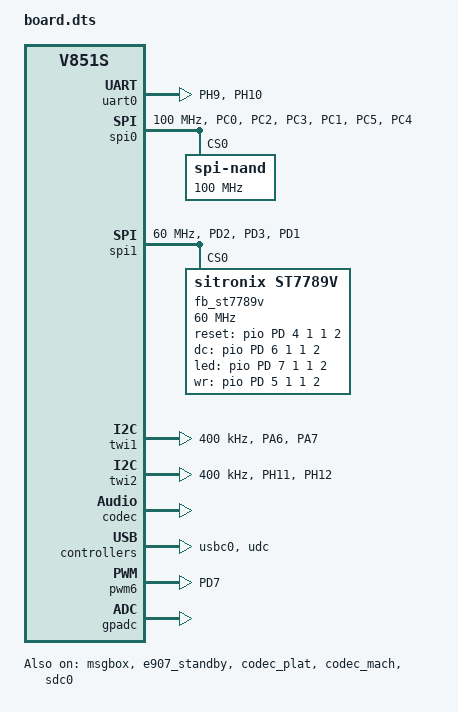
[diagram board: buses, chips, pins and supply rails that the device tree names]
/*
 * Allwinner Technology CO., Ltd. sun8iw21p1 soc board.
 *
 * soc board support.
 */

/dts-v1/;

#include "sun8iw21p1.dtsi"

/{
	compatible = "CLD,NORI", "allwinner,sun8iw21p1", "arm,sun8iw21p1", "allwinner,v851s";

	reserved-memory {
		e907_dram: riscv_memserve {
			reg = <0x0 0x43c00000 0x0 0x00400000>;
			no-map;
		};

		vdev0buffer: vdev0buffer@0x43000000 {
			/* 256k reserved for shared mem pool */
			compatible = "shared-dma-pool";
			reg = <0x0 0x43000000 0x0 0x40000>;
			no-map;
		};

		vdev0vring0: vdev0vring0@0x43040000 {
			reg = <0x0 0x43040000 0x0 0x20000>;
			no-map;
		};

		vdev0vring1: vdev0vring1@0x43060000 {
			reg = <0x0 0x43060000 0x0 0x20000>;
			no-map;
		};
	};

	e907_rproc: e907_rproc@0 {
		compatible = "allwinner,sun8iw21p1-e907-rproc";
		clock-frequency = <600000000>;
		memory-region = <&e907_dram>, <&vdev0buffer>,
				<&vdev0vring0>, <&vdev0vring1>;

		mboxes = <&msgbox 0>;
		mbox-names = "mbox-chan";
		iommus = <&mmu_aw 5 1>;

		memory-mappings =
			/* DA 	         len         PA */
			/* DDR for e907  */
			< 0x43c00000 0x00400000 0x43c00000 >;
		core-name = "sun8iw21p1-e907";
		firmware-name = "melis-elf";
		status = "okay";
	};

	rpbuf_controller0: rpbuf_controller@0 {
		compatible = "allwinner,rpbuf-controller";
		remoteproc = <&e907_rproc>;
		ctrl_id = <0>;	/* index of /dev/rpbuf_ctrl */
		iommus = <&mmu_aw 5 1>;
		status = "okay";
	};

	rpbuf_sample: rpbuf_sample@0 {
		compatible = "allwinner,rpbuf-sample";
		rpbuf = <&rpbuf_controller0>;
		status = "okay";
	};

	soc@03000000 {		
		wlan: wlan@0 {
			compatible    = "allwinner,sunxi-wlan";
			pinctrl-names = "default";
			clock-names = "32k-fanout0";
			clocks        = <&clk_fanout0>;
			wlan_busnum    = <0x1>;
			wlan_regon    = <&pio PE 6 1 0x1 0x2 0>;
			wlan_hostwake = <&pio PE 7 14 0x1 0x2 0>;
			chip_en;
			power_en;
			status        = "disabled";
			wakeup-source;
		};

		vind0:vind@0 {
			status = "okay";

			mipi0:mipi@0 {
				status = "disabled";
			};
			mipi1:mipi@1 {
				status = "disabled";
			};

			sensor0:sensor@0 {
				device_type = "sensor0";
				device_id = <0>;
				compatible = "allwinner,sunxi-sensor";
				sensor0_mname = "gc0328c"; /* 必须要和驱动的 SENSOR_NAME 一致 */
				sensor0_twi_cci_id = <2>; /* 所使用的twi id号，本例中使用的是twi0，故填写为0 */
				sensor0_twi_addr = <0x42>; /* sensor 设备ID地址，必须与驱动中的I2C_ADDR一致 */ 
				sensor0_mclk_id = <2>; /* 所使用的mclk id号，本例中使用的是MCLK0，故填写为0 */
				sensor0_pos = "rear"; /* 传感器位置，标识传感器安装的位置（例如前置或后置）*/
				sensor0_isp_used = <0>; /* 标识是否使用图像信号处理器（ISP）*/
				sensor0_fmt = <0>; /* sensor输出的图像格式，YUV：0，RAW：1 */ 
				sensor0_stby_mode = <0>; 
				sensor0_vflip = <0>; /* VIPP 图像垂直翻转 0表示不翻转 */
				sensor0_hflip = <0>; /* VIPP 图像水平翻转 0表示不翻转 */

				/* 
				* sensor iovdd 连接的 ldo，根据硬件原理图的连接，
				* 确认是连接到 axp 哪个 ldo，假设 iovdd 连接到 aldo3，
				* 则 sensor0_iovdd-supply = <&reg_aldo3>，其他同理。
				*
				* AXP通常是指由全志科技（Allwinner Technology）生产的电源管理单元（PMU，Power Management Unit）系列芯片
				* DLDO（Digital Low Dropout Regulator）数字低压差线性稳压器 用于为数字电路提供电源，通常会为SoC内部的数字逻辑部分供电。
				* ELDO（External Low Dropout Regulator）外部低压差线性稳压器 用于外部电源供应，通常为外部的模拟或数字外围设备供电。
				* ALDO（Analog Low Dropout Regulator）模拟低压差线性稳压器 专门为模拟电路提供电源，通常用于音频、RF（射频）模块、传感器等对电源噪声敏感的模拟电路。
				*/
				sensor0_iovdd-supply = <>;
				sensor0_iovdd_vol = <2800000>; /*根据硬件原理图，确认工作电压*/
				sensor0_avdd-supply = <>;
				sensor0_avdd_vol = <2800000>;
				sensor0_dvdd-supply = <>;
				sensor0_dvdd_vol = <1500000>;

				/* GPIO 信息配置：pio 端口 组内序号 功能分配 内部电阻状态 驱动能力 输出电平状态 */
				sensor0_pwdn = <&pio PD 21 1 0 1 0>;

				flash_handle = <&flash0>;
				act_handle = <&actuator0>;

				status	= "okay";
			};

			sensor1:sensor@1 {
				status = "disabled";
			};

			vinc00:vinc@0 {
				vinc0_csi_sel = <2>;
				vinc0_mipi_sel = <0xff>;
				status = "okay";
			};
		};
	};

};

&npu {
	clock-frequency = <348000000>;/*0.93V 348M; 0.96V 348M*/
};

&uart0 {
	pinctrl-names = "default", "sleep";
	pinctrl-0 = <&uart0_pins_active>;
	pinctrl-1 = <&uart0_pins_sleep>;
	status = "okay";
};

&uart1 {
	pinctrl-names = "default", "sleep";
	pinctrl-0 = <&uart1_pins_active>;
	pinctrl-1 = <&uart1_pins_sleep>;
	status = "disabled";
};

&uart2 {
	pinctrl-names = "default", "sleep";
	pinctrl-0 = <&uart2_pins_active>;
	pinctrl-1 = <&uart2_pins_sleep>;
	status = "disabled";
};

&uart3 {
	pinctrl-names = "default", "sleep";
	pinctrl-0 = <&uart3_pins_active>;
	pinctrl-1 = <&uart3_pins_sleep>;
	status = "disabled";
};

&pio {
	uart0_pins_active: uart0@0 {
		allwinner,pins = "PH9", "PH10";
		allwinner,function = "uart0";
		allwinner,muxsel = <5>;
		allwinner,drive = <1>;
		allwinner,pull = <1>;
	};

	uart0_pins_sleep: uart0@1 {
		allwinner,pins = "PH9", "PH10";
		allwinner,function = "gpio_in";
		allwinner,muxsel = <0>;
	};

	uart1_pins_active: uart1@0 {
		allwinner,pins = "PG6", "PG7";
		allwinner,function = "uart1";
		allwinner,muxsel = <4>;
		allwinner,drive = <1>;
		allwinner,pull = <1>;
	};

	uart1_pins_sleep: uart1@1 {
		allwinner,pins = "PG6", "PG7";
		allwinner,function = "gpio_in";
		allwinner,muxsel = <0>;
	};

	uart2_pins_active: uart2@0 {
		allwinner,pins = "PA8", "PA9";
		allwinner,function = "uart2";
		allwinner,muxsel = <6>;
		allwinner,drive = <1>;
		allwinner,pull = <1>;
	};

	uart2_pins_sleep: uart2@1 {
		allwinner,pins = "PA8", "PA9";
		allwinner,function = "gpio_in";
		allwinner,muxsel = <0>;
	};

	uart3_pins_active: uart3@0 {
		allwinner,pins = "PE12", "PE13";
		allwinner,function = "uart3";
		allwinner,muxsel = <7>;
		allwinner,drive = <1>;
		allwinner,pull = <1>;
	};

	uart3_pins_sleep: uart3@1 {
		allwinner,pins = "PE12", "PE13";
		allwinner,function = "gpio_in";
		allwinner,muxsel = <0>;
	};

	spi0_pins_a: spi0@0 {
		allwinner,pins = "PC0", "PC2", "PC3";
		allwinner,pname = "spi0_sclk", "spi0_mosi", "spi0_miso";
		allwinner,function = "spi0";
		allwinner,muxsel = <4>;
		allwinner,drive = <1>;
		allwinner,pull = <0>;
	};

	spi0_pins_b: spi0@1 {
		allwinner,pins = "PC1", "PC5", "PC4";
		allwinner,pname = "spi0_cs0", "spi0_hold", "spi0_wp";
		allwinner,function = "spi0";
		allwinner,muxsel = <4>;
		allwinner,drive = <1>;
		allwinner,pull = <1>;   // only CS should be pulled up
	};

	spi0_pins_c: spi0@2 {
		allwinner,pins = "PC0", "PC1", "PC2", "PC3", "PC4", "PC5";
		allwinner,function = "io_disabled";
		allwinner,muxsel = <7>;
		allwinner,drive = <1>;
		allwinner,pull = <0>;
	};

	spi1_pins_a: spi1@0 {
		allwinner,pins = "PD2", "PD3";
		allwinner,pname = "spi1_sclk", "spi1_mosi";
		allwinner,function = "spi1";
		allwinner,muxsel = <6>;
		allwinner,drive = <3>;
		allwinner,pull = <0>;
	};

	spi1_pins_b: spi1@1 {
		allwinner,pins = "PD1";
		allwinner,pname = "spi1_cs0";
		allwinner,function = "spi1";
		allwinner,muxsel = <6>;
		allwinner,drive = <1>;
		allwinner,pull = <1>;   // only CS should be pulled up
	};

	spi1_pins_c: spi1@2 {
		allwinner,pins = "PD1", "PD2", "PD3";
		allwinner,function = "io_disabled";
		allwinner,muxsel = <0xf>;
		allwinner,drive = <1>;
		allwinner,pull = <0>;
	};

	spif0_pins_a: spif0@0 {
		/* aw1886 fpga PF11 can't be set */
		allwinner,pins = "PF24", "PF29", "PF26", "PF30",
							"PF31","PF20", "PF21", "PF22",
							"PF23";
	/*
		allwinner,pins = "PF24", "PF29", "PF26", "PF30",
							"PF31","PF20", "PF21", "PF22",
							"PF23","PF11";
	*/
		allwinner,pname = "spif0_mosi", "spif0_miso", "spif0_hold", "spif0_wp",
							"spif0_sck", "spif0_dq4", "spif0_dq5", "spif0_dq6",
							"spif0_dq7", "spif0_dqs";
		allwinner,function = "spif";
		allwinner,muxsel = <3>;
		allwinner,drive = <1>;
		allwinner,pull = <0>;
	};

	spif0_pins_b: spif0@1 {
		allwinner,pins = "PF25";
		allwinner,pname = "spif0_cs0";
		allwinner,function = "spif";
		allwinner,muxsel = <3>;
		allwinner,drive = <1>;
		allwinner,pull = <1>;   // only CS should be pulled up
	};

	spif0_pins_c: spif0@2 {
		allwinner,pins = "PF24", "PF29", "PF26", "PF30",
						"PF31","PF20", "PF21", "PF22",
						"PF23", "PF25", "PF11";
		allwinner,pname = "spif0_mosi", "spif0_miso", "spif0_hold", "spif0_wp",
						"spif0_sck", "spif0_dq4", "spif0_dq5", "spif0_dq6",
						"spif0_dq7", "spif0_cs", "spif0_dqs";
		allwinner,function = "io_disabled";
		allwinner,muxsel = <0xF>;
		allwinner,drive = <1>;
		allwinner,pull = <0>;
	};

	twi0_pins_a: twi0@0 {
		allwinner,pins = "PA16", "PA17";
		allwinner,pname = "twi0_scl", "twi0_sda";
		allwinner,function = "twi0";
		allwinner,muxsel = <4>;
		allwinner,drive = <0>;
		allwinner,pull = <1>;
	};

	twi0_pins_b: twi0@1 {
		allwinner,pins = "PA16", "PA17";
		allwinner,function = "io_disabled";
		allwinner,muxsel = <0xf>;
		allwinner,drive = <0>;
		allwinner,pull = <0>;
	};

	twi1_pins_a: twi1@0 {
		allwinner,pins = "PA6", "PA7";
		allwinner,pname = "twi1_scl", "twi1_sda";
		allwinner,function = "twi1";
		allwinner,muxsel = <4>;
		allwinner,drive = <0>;
		allwinner,pull = <1>;
	};

	twi1_pins_b: twi1@1 {
		allwinner,pins = "PA6", "PA7";
		allwinner,function = "io_disabled";
		allwinner,muxsel = <0xf>;
		allwinner,drive = <0>;
		allwinner,pull = <0>;
	};

	twi2_pins_a: twi2@0 {
		allwinner,pins = "PH11", "PH12";
		allwinner,pname = "twi2_scl", "twi2_sda";
		allwinner,function = "twi2";
		allwinner,muxsel = <5>;
		allwinner,drive = <0>;
		allwinner,pull = <1>;
	};

	twi2_pins_b: twi2@1 {
		allwinner,pins = "PH11", "PH12";
		allwinner,function = "io_disabled";
		allwinner,muxsel = <0xf>;
		allwinner,drive = <0>;
		allwinner,pull = <0>;
	};

	twi3_pins_a: twi3@0 {
		allwinner,pins = "PI3", "PI4";
		allwinner,pname = "twi3_scl", "twi3_sda";
		allwinner,function = "twi6";
		allwinner,muxsel = <6>;
		allwinner,drive = <0>;
		allwinner,pull = <1>;
	};

	twi3_pins_b: twi3@1 {
		allwinner,pins = "PI3", "PI4";
		allwinner,function = "io_disabled";
		allwinner,muxsel = <0xf>;
		allwinner,drive = <0>;
		allwinner,pull = <0>;
	};

	twi4_pins_a: twi4@0 {
		allwinner,pins = "PI1", "PI2";
		allwinner,pname = "twi4_scl", "twi4_sda";
		allwinner,function = "twi4";
		allwinner,muxsel = <5>;
		allwinner,drive = <0>;
		allwinner,pull = <1>;
	};

	twi4_pins_b: twi4@1 {
		allwinner,pins = "PI1", "PI2";
		allwinner,function = "io_disabled";
		allwinner,muxsel = <0xf>;
		allwinner,drive = <0>;
		allwinner,pull = <0>;
	};

	dmic_pins_a: dmic@0 {
		allwinner,pins = "PH0", "PH1", "PH2", "PH3", "PH4";
		allwinner,function = "dmic";
		allwinner,muxsel = <6>;
		allwinner,drive = <1>;
		allwinner,pull = <0>;
	};

	dmic_pins_b: dmic_sleep@0 {
		allwinner,pins = "PH0", "PH1", "PH2", "PH3", "PH4";
		allwinner,function = "io_disabled";
		allwinner,muxsel = <0xf>;
		allwinner,drive = <1>;
		allwinner,pull = <0>;
	};

	daudio0_pins_a: daudio0@0 {
		allwinner,pins = "PH0", "PH1", "PH2", "PH3", "PH4";
		allwinner,function = "i2s0";
		allwinner,muxsel = <3>;
		allwinner,drive = <1>;
		allwinner,pull = <0>;
	};

	daudio0_pins_b: daudio0_sleep@0 {
		allwinner,pins = "PH0", "PH1", "PH2", "PH3", "PH4";
		allwinner,function = "io_disabled";
		allwinner,muxsel = <0xf>;
		allwinner,drive = <1>;
		allwinner,pull = <0>;
	};

	daudio1_pins_a: daudio1@0 {
		allwinner,pins = "PE7", "PE8", "PE9", "PE10", "PE11";
		allwinner,function = "i2s1";
		allwinner,muxsel = <7>;
		allwinner,drive = <1>;
		allwinner,pull = <0>;
	};

	daudio1_pins_b: daudio1_sleep@0 {
		allwinner,pins = "PE7", "PE8", "PE9", "PE10", "PE11";
		allwinner,function = "io_disabled";
		allwinner,muxsel = <0xf>;
		allwinner,drive = <1>;
		allwinner,pull = <0>;
	};

	pwm6_pin_a: pwm6@0 {
		pins = "PD7";
		function = "pwm6";
		muxsel = <3>;
		drive-strength = <10>;
		bias-pull-up;
	};

	pwm6_pin_b: pwm6@1 {
		pins = "PD7";
		function = "gpio_in";
		muxsel = <0>;
	};

	pwm11_pin_a: pwm11@0 {
		pins = "PD12";
		function = "pwm11";
		muxsel = <7>;
		drive-strength = <10>;
	};

	pwm11_pin_b: pwm11@1 {
		pins = "PD12";
		function = "gpio_in";
		muxsel = <0>;
	};

	wiegand_pins_a: wiegand@0 {
		pins = "PD1", "PD2";
		function = "wiegand";
		drive-strength = <10>;
		muxsel = <0>;
		bias-pull-up;
	};

	wiegand_pins_b: wiegand@1 {
		pins = "PD1", "PD2";
		muxsel = <1>;
		function = "io_disabled";
	};

	gmac0_pins_a: gmac0@0 {
		allwinner,pins = "PD1", "PD2", "PD3", "PD4",
				"PD5", "PD6", "PD7","PD8",
				"PD18", "PD20", "PD21";
		allwinner,function = "rmii";
		allwinner,drive = <1>;
		allwinner,muxsel = <4>;
		allwinner,pull = <0>;
	};

	gmac0_pins_b: gmac0@1 {
		allwinner,pins = "PD1", "PD2", "PD3", "PD4",
				"PD5", "PD6", "PD7","PD8",
				"PD18", "PD20","PD21";
		allwinner,function = "gpio_in";
		allwinner,drive = <0>;
		allwinner,muxsel = <0>;
		allwinner,pull = <0>;
	};

	sdc0_pins_a: sdc0@0 {
		allwinner,pins = "PF0", "PF1", "PF2",
				 "PF3", "PF4", "PF5";
		allwinner,function = "sdc0";
		allwinner,muxsel = <2>;
		allwinner,drive = <1>;
		allwinner,pull = <0>;
	};

	sdc1_pins_a: sdc1@0 {
		allwinner,pins = "PE0", "PE1", "PE2",
				 "PE3", "PE4", "PE5";
		allwinner,function = "sdc1";
		allwinner,muxsel = <6>;
		allwinner,drive = <3>;
		allwinner,pull = <1>;
	};

	sdc1_pins_b: sdc1@1 {
		allwinner,pins = "PE0", "PE1", "PE2",
				 "PE3", "PE4", "PE5";
		allwinner,function = "io_disabled";
		allwinner,muxsel = <7>;
		allwinner,drive = <1>;
		allwinner,pull = <1>;
	};

	dsi2lane_pins_a: dsi2lane@0 {
		allwinner,pins = "PD1", "PD2", "PD3", "PD4", "PD5", "PD6";
		allwinner,pname = "PD1", "PD2", "PD3", "PD4", "PD5", "PD6";
		allwinner,function = "dsi";
		allwinner,muxsel = <5>;
		allwinner,drive = <3>;
		allwinner,pull = <0>;
	};

	dsi2lane_pins_b: dsi2lane@1 {
		allwinner,pins = "PD1", "PD2", "PD3", "PD4", "PD5", "PD6";
		allwinner,pname = "PD1", "PD2", "PD3", "PD4", "PD5", "PD6";
		allwinner,function = "io_disabled";
		allwinner,muxsel = <0xf>;
		allwinner,drive = <1>;
		allwinner,pull = <0>;
	};
	
	ncsi_pins_a: ncsi@0 {
		allwinner,pins = "PE0", "PE2", "PE3",
					"PE4", "PE5", "PE6", "PE7",
					"PE8", "PE9", "PE10", "PE11";
		allwinner,pname = "ncsi_pclk", "ncsi_hsync", "ncsi_vsync",
					"ncsi_d0", "ncsi_d1", "ncsi_d2", "ncsi_d3",
					"ncsi_d4", "ncsi_d5", "ncsi_d6", "ncsi_d7";
		allwinner,function = "ncsi";
		allwinner,muxsel = <2>;
		allwinner,drive = <1>;
		allwinner,pull = <0>;
	};

	ncsi_pins_b: ncsi@1 {
		allwinner,pins = "PE0", "PE2", "PE3",
					"PE4", "PE5", "PE6", "PE7",
					"PE8", "PE9", "PE10", "PE11";
		allwinner,pname = "ncsi_pclk", "ncsi_hsync", "ncsi_vsync",
					"ncsi_d0", "ncsi_d1", "ncsi_d2", "ncsi_d3",
					"ncsi_d4", "ncsi_d5", "ncsi_d6", "ncsi_d7";
		allwinner,function = "io_disabled";
		allwinner,muxsel = <0xf>;
		allwinner,drive = <1>;
		allwinner,pull = <0>;
	};
};

&spi0 {
	clock-frequency = <100000000>;
	pinctrl-0 = <&spi0_pins_a &spi0_pins_b>;
	pinctrl-1 = <&spi0_pins_c>;
	pinctrl-names = "default", "sleep";
	spi_slave_mode = <0>;
	spi_dbi_enable = <0>;
	spi0_cs_number = <2>;
	status = "okay";

	spi_board0 {
		device_type = "spi_board0";
		compatible = "spi-nor";
		spi-max-frequency = <0x05F5E100>;
		m25p,fast-read = <1>;
		/*individual_lock;*/
		reg = <0x0>;
		spi-rx-bus-width=<0x04>;
		spi-tx-bus-width=<0x04>;
		status="disabled";
	};

	spi-nand@0 {
		compatible = "spi-nand";
		spi-max-frequency=<0x05F5E100>;
		reg = <0x0>;
		spi-rx-bus-width=<0x04>;
		spi-tx-bus-width=<0x04>;
		status="okay";
	};
};

&spi1 {
	device_type = "spi1";
	reg = <0x0 0x04026000 0x0 0x1000>;
	interrupts = <GIC_SPI 16 IRQ_TYPE_LEVEL_HIGH>;
	clock-frequency = <60000000>;
	pinctrl-0 = <&spi1_pins_a &spi1_pins_b>;
	pinctrl-1 = <&spi1_pins_c>;
	pinctrl-names = "default", "sleep";

	spi_slave_mode = <0>;
	spi_dbi_enable = <0>;
	spi1_cs_number = <1>;
	status = "okay";

    fb_st7789v@1 {
        compatible = "sitronix,st7789v";
        reg = <0x0>;
        spi-max-frequency=<60000000>;
		rotate = <90>;
		bgr;
		fps = <100>;
		buswidth = <8>;
		reset = <&pio PD 4 1 1 2 1>;
		dc = <&pio PD 6 1 1 2 0>;
		led = <&pio PD 7 1 1 2 1>;
		wr = <&pio PD 5 1 1 2 1>;
		backlight;
		debug = <1>;
        status = "okay";
    };
};

&spi5 {
	clock-frequency = <10000000>;
	pinctrl-0 = <&spif0_pins_a &spif0_pins_b>;
	pinctrl-1 = <&spif0_pins_c>;
	pinctrl-names = "default", "sleep";
	//prefetch_read_mode_enabled;	/* choose prefect read mode */
	//dtr_mode_enabled;				/* choose double edge trigger mode */
	//dqs_mode_enabled;				/* choose dqs mode(nand provide clk mode) */
	status = "disabled";

	spi_board1@0 {
		device_type = "spi_board1";
		compatible = "rohm,dh2228fv";
		spi-max-frequency = <0x5f5e100>;
		reg = <0x0>;
		spi-rx-bus-width = <0x4>;
		spi-tx-bus-width = <0x4>;
		status = "disabled";
	};
};

&msgbox {
	status = "okay";
};

&e907_standby {
	status = "okay";
};

&twi0 {
	clock-frequency = <400000>;
	pinctrl-0 = <&twi0_pins_a>;
	pinctrl-1 = <&twi0_pins_b>;
	pinctrl-names = "default", "sleep";
	/* For stability and backwards compatibility, we recommend setting ‘twi_drv_used’ to 0  */
	twi_drv_used = <0>;
	twi_pkt_interval = <0>;
	status = "disabled";
};

&twi1 {
	clock-frequency = <400000>;
	pinctrl-0 = <&twi1_pins_a>;
	pinctrl-1 = <&twi1_pins_b>;
	pinctrl-names = "default", "sleep";
	/* For stability and backwards compatibility, we recommend setting ‘twi_drv_used’ to 0  */
	twi_drv_used = <0>;
	twi_pkt_interval = <0>;
	status = "okay";
};

&twi2 {
	clock-frequency = <400000>;
	pinctrl-0 = <&twi2_pins_a>;
	pinctrl-1 = <&twi2_pins_b>;
	pinctrl-names = "default", "sleep";
	/* For stability and backwards compatibility, we recommend setting ‘twi_drv_used’ to 0  */
	twi_drv_used = <0>;
	twi_pkt_interval = <0>;
	status = "okay";

	ft6x06@38 {
		compatible = "focaltech,ft6236";
		reg = <0x38>;
		interrupt-parent = <&pio>;
		interrupts = <PH 13 IRQ_TYPE_LEVEL_LOW>;
		reset-gpios = <&pio PH 14 1 0 1 0>;
		touchscreen-size-x = <480>;
		touchscreen-size-y = <800>;
		touchscreen-inverted-x;
		status = "disabled";
	};
};

&twi3 {
	clock-frequency = <400000>;
	pinctrl-0 = <&twi3_pins_a>;
	pinctrl-1 = <&twi3_pins_b>;
	pinctrl-names = "default", "sleep";
	/* For stability and backwards compatibility, we recommend setting ‘twi_drv_used’ to 0  */
	twi_drv_used = <0>;
	twi_pkt_interval = <0>;
	status = "disabled";
};

/* audio dirver module -> audio codec */
&codec {
	/* external-avcc; */
	/* avcc-supply	= <&reg_aldo1>; */
	avcc-vol	= <1800000>;	/* uv */
	lineout-vol	= <31>;
	mic1gain	= <31>;
	mic2gain	= <31>;
	adcdelaytime	= <0>;
	lineout-single;
	/* mic1-single; */
	/* mic2-single; */
	pa-pin-max	= <1>;		/* set pa */
	pa-pin-0	= <&pio PH 15 1 1 1 1>;
	pa-pin-level-0	= <1>;
	pa-pin-msleep-0	= <0>;
	tx-hub-en;
	rx-sync-en;
	status		= "okay";
};

&codec_plat {
	status		= "okay";
};

&codec_mach {
	status		= "okay";
	soundcard-mach,cpu {
		sound-dai = <&codec_plat>;
	};
	soundcard-mach,codec {
		sound-dai = <&codec>;
	};
};

/* audio dirver module -> DMIC */
&dmic_plat {
	rx-chmap	= <0x76543210>;
	data-vol	= <0xB0>;
	rxdelaytime	= <0>;
	/* pinctrl-used; */
	/* pinctrl-names= "default","sleep"; */
	/* pinctrl-0	= <&dmic_pins_a>; */
	/* pinctrl-1	= <&dmic_pins_b>; */
	rx-sync-en;
	status = "disabled";
};

&dmic_mach {
	status = "disabled";
	soundcard-mach,cpu {
		sound-dai = <&dmic_plat>;
		soundcard-mach,pll-fs	= <1>; /* pll freq = 24.576M or 22.5792M * pll-fs */
	};
	soundcard-mach,codec {
	};
};

/* audio dirver module -> I2S/PCM */
&daudio0_plat {
	tdm-num		= <0>;
	tx-pin		= <0>;
	rx-pin		= <0>;
	/* pinctrl-used; */
	/* pinctrl-names= "default","sleep"; */
	/* pinctrl-0	= <&daudio0_pins_a>; */
	/* pinctrl-1	= <&daudio0_pins_b>; */
	tx-hub-en;
	rx-sync-en;
	status = "disabled";
};

&daudio0_mach {
	soundcard-mach,format		= "i2s";
	soundcard-mach,frame-master	= <&daudio0_cpu>;
	soundcard-mach,bitclock-master	= <&daudio0_cpu>;
	/* soundcard-mach,frame-inversion; */
	/* soundcard-mach,bitclock-inversion; */
	soundcard-mach,slot-num		= <2>;
	soundcard-mach,slot-width	= <32>;
	status = "disabled";
	daudio0_cpu: soundcard-mach,cpu {
		sound-dai = <&daudio0_plat>;
		soundcard-mach,pll-fs	= <1>; /* pll freq = 24.576M or 22.5792M * pll-fs */
		soundcard-mach,mclk-fs	= <0>; /* mclk freq = pcm rate * mclk-fs */
	};
	daudio0_codec: soundcard-mach,codec {
	};
};

&daudio1_plat {
	tdm-num		= <1>;
	tx-pin		= <0>;
	rx-pin		= <0>;
	/* pinctrl-used; */
	/* pinctrl-names= "default","sleep"; */
	/* pinctrl-0	= <&daudio1_pins_a>; */
	/* pinctrl-1	= <&daudio1_pins_b>; */
	tx-hub-en;
	rx-sync-en;
	status		= "disabled";
};

&daudio1_mach {
	soundcard-mach,format		= "i2s";
	soundcard-mach,frame-master	= <&daudio1_cpu>;
	soundcard-mach,bitclock-master	= <&daudio1_cpu>;
	/* soundcard-mach,frame-inversion; */
	/* soundcard-mach,bitclock-inversion; */
	soundcard-mach,slot-num		= <2>;
	soundcard-mach,slot-width	= <32>;
	status		= "disabled";
	daudio1_cpu: soundcard-mach,cpu {
		sound-dai = <&daudio1_plat>;
		soundcard-mach,pll-fs	= <1>; /* pll freq = 24.576M or 22.5792M * pll-fs */
		soundcard-mach,mclk-fs	= <0>; /* mclk freq = pcm rate * mclk-fs */
	};
	daudio1_codec: soundcard-mach,codec {
	};
};
/* audio dirver module -> END */

&usbc0 {
	device_type = "usbc0";
	usb_port_type = <0x0>;
	usb_detect_type = <0x0>;
	usb_detect_mode = <0x0>;
	usb_id_gpio;
	usb_det_vbus_gpio;
	usb_regulator_io = "nocare";
	usb_wakeup_suspend = <0x0>;
	usb_luns = <0x3>;
	usb_serial_unique = <0x0>;
	usb_serial_number = "20080411";
	status = "okay";
};

&udc {
	status = "okay";
};

&pwm6 {
	pinctrl-names = "active", "sleep";
	pinctrl-0 = <&pwm6_pin_a>;
	pinctrl-1 = <&pwm6_pin_b>;
	status = "okay";
};

&gpadc {
	channel_num = <1>;
	channel_select = <0x01>;
	channel_data_select = <0>;
	channel_compare_select = <0x01>;
	channel_cld_select = <0x01>;
	channel_chd_select = <0>;
	channel0_compare_lowdata = <1700000>;
	channel0_compare_higdata = <1200000>;
	channel1_compare_lowdata = <460000>;
	channel1_compare_higdata = <1200000>;
	key_cnt = <5>;
	key0_vol = <210>;
	key0_val = <115>;
	key1_vol = <410>;
	key1_val = <114>;
	key2_vol = <590>;
	key2_val = <139>;
	key3_vol = <750>;
	key3_val = <28>;
	key4_vol = <880>;
	key4_val = <102>;
	status = "okay";
};

&wiegand {
	protocol-type		= <0>;		/* select protocol-type; 0:26bit, 1:34bit */
	signal-duration		= <110>;	/* duty cycle, range is determined by clock_div */
	signal-period		= <1178>;	/* cycle length, range is determined by clock_div */
	high-parity-polar	= <0x01>;	/* select high parity bit polarity 1:odd parity; 0:even parity */
	low-parity-polar	= <0x00>;	/* select low parity bit polarity 1:odd parity; 0:even parity */
	data-polar		= <0x01>;	/* select the bit polarity 0:normal; 1:inverse */
	clock-div		= <0x18>;	/* set the clock division ratio, range: 0-48 */
	pinctrl-names = "default", "sleep";
	pinctrl-0 = <&wiegand_pins_a>;
	pinctrl-1 = <&wiegand_pins_b>;
	status = "disabled";
};

&gmac0{
	phy-mode = "rmii";
	use_ephy25m = <1>;
	pinctrl-0 = <&gmac0_pins_a>;
	pinctrl-1 = <&gmac0_pins_b>;
	pinctrl-names = "default", "sleep";
	phy-rst = <&pio PD 19 1 1 1 0>;
	tx-delay = <7>;
	rx-delay = <31>;
	disable-az-mode;
	status = "disabled";
};

&sdc2 {
	non-removable;
	bus-width = <8>;
	mmc-ddr-1_8v;
	mmc-hs200-1_8v;
	mmc-hs400-1_8v;
	no-sdio;
	no-sd;
	ctl-spec-caps = <0x8>;
	cap-mmc-highspeed;
	sunxi-power-save-mode;
	sunxi-dis-signal-vol-sw;
	max-frequency = <100000000>;
	/*vmmc-supply = <&reg_dcdc1>;*/
	/*emmc io vol 3.3v*/
	/*vqmmc-supply = <&reg_aldo1>;*/
	/*emmc io vol 1.8v*/
	/*vqmmc-supply = <&reg_eldo1>;*/
	status = "disabled";
};

&sdc0 {
	bus-width = <4>;
	/*cd-gpios = <&pio PF 6 6 1 3 0xffffffff>;*/
	/*non-removable;*/
	/*broken-cd;*/
	/*cd-inverted;*/
	data3-detect;
	/*card-pwr-gpios = <&pio PH 12 1 1 2 0xffffffff>;*/
	/*cd-used-24M;*/
	cap-sd-highspeed;
	sd-uhs-sdr50;
	sd-uhs-ddr50;
	sd-uhs-sdr104;
	no-sdio;
	no-mmc;
	sunxi-signal-vol-sw-without-pmu;
	sunxi-power-save-mode;
	/*sunxi-dis-signal-vol-sw;*/
	max-frequency = <150000000>;
	ctl-spec-caps = <0x408>;
	/*vmmc-supply = <&reg_dcdc1>;*/
	/*vqmmc33sw-supply = <&reg_dcdc1>;*/
	/*vdmmc33sw-supply = <&reg_dcdc1>;*/
	/*vqmmc18sw-supply = <&reg_bldo1>;*/
	/*vdmmc18sw-supply = <&reg_bldo1>;*/
	status = "okay";
};

&cpu0 {
	vf_tbl_sel = <0>;
};

&disp {
	status = "disabled";
};

&lcd0 {
	status = "disabled";
};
